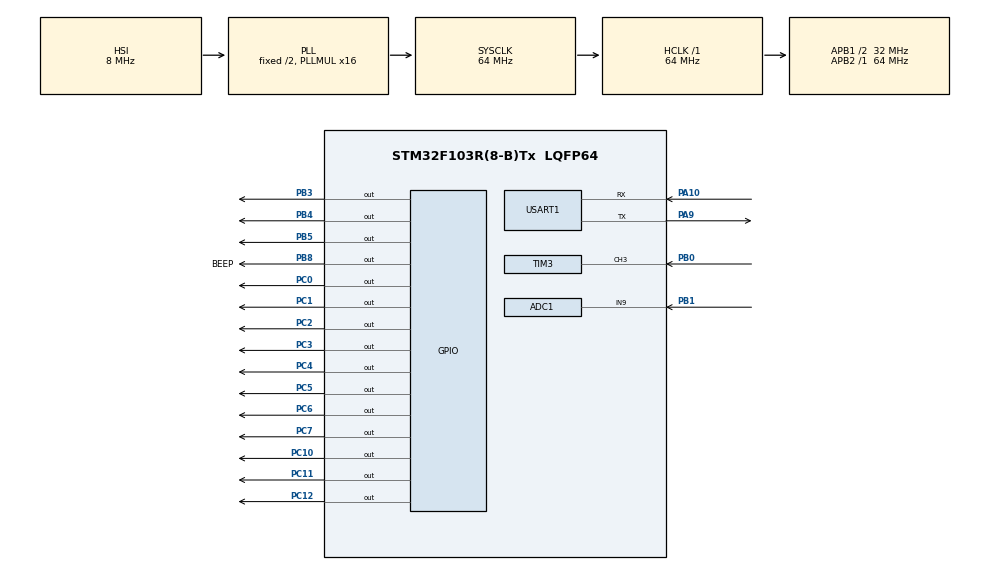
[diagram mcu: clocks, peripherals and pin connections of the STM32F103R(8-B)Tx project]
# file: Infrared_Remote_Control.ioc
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ADC1.Channel-0\#ChannelRegularConversion=ADC_CHANNEL_9
ADC1.NbrOfConversionFlag=1
ADC1.Rank-0\#ChannelRegularConversion=1
ADC1.SamplingTime-0\#ChannelRegularConversion=ADC_SAMPLETIME_1CYCLE_5
ADC1.master=1
Mcu.Family=STM32F1
Mcu.Name=STM32F103R(8-B)Tx
Mcu.Package=LQFP64
NVIC.PriorityGroup=NVIC_PRIORITYGROUP_4
NVIC.TIM2_IRQn=true\:0\:0\:false\:false\:true\:true\:true\:true
NVIC.TIM3_IRQn=true\:1\:0\:true\:false\:true\:true\:true\:true
NVIC.USART1_IRQn=true\:0\:0\:false\:false\:true\:true\:true\:true
PA10.Mode=Asynchronous
PA10.Signal=USART1_RX
PA13.Mode=Serial_Wire
PA13.Signal=SYS_JTMS-SWDIO
PA14.Mode=Serial_Wire
PA14.Signal=SYS_JTCK-SWCLK
PA9.Mode=Asynchronous
PA9.Signal=USART1_TX
PB0.Signal=S_TIM3_CH3
PB1.Signal=ADCx_IN9
PB3.Signal=GPIO_Output
PB4.Signal=GPIO_Output
PB5.Signal=GPIO_Output
PB8.GPIO_Label=BEEP
PB8.Signal=GPIO_Output
PC0.Signal=GPIO_Output
PC1.Signal=GPIO_Output
PC10.Signal=GPIO_Output
PC11.Signal=GPIO_Output
PC12.Signal=GPIO_Output
PC2.Signal=GPIO_Output
PC3.Signal=GPIO_Output
PC4.Signal=GPIO_Output
PC5.Signal=GPIO_Output
PC6.Signal=GPIO_Output
PC7.Signal=GPIO_Output
ProjectManager.HeapSize=0x200
ProjectManager.StackSize=0x400
ProjectManager.TargetToolchain=MDK-ARM V5.32
RCC.ADCPresc=RCC_ADCPCLK2_DIV6
RCC.AHBFreq_Value=64000000
RCC.APB1CLKDivider=RCC_HCLK_DIV2
RCC.APB1Freq_Value=32000000
RCC.APB1TimFreq_Value=64000000
RCC.APB2Freq_Value=64000000
RCC.APB2TimFreq_Value=64000000
RCC.HCLKFreq_Value=64000000
RCC.PLLMUL=RCC_PLL_MUL16
RCC.SYSCLKFreq_VALUE=64000000
RCC.SYSCLKSource=RCC_SYSCLKSOURCE_PLLCLK
RCC.USBFreq_Value=64000000
SH.ADCx_IN9.0=ADC1_IN9,IN9
SH.S_TIM3_CH3.0=TIM3_CH3,Input_Capture3_from_TI3
TIM2.AutoReloadPreload=TIM_AUTORELOAD_PRELOAD_ENABLE
TIM2.Period=999
TIM2.Prescaler=63
TIM2.TIM_MasterOutputTrigger=TIM_TRGO_UPDATE
TIM3.AutoReloadPreload=TIM_AUTORELOAD_PRELOAD_ENABLE
TIM3.Channel-Input_Capture3_from_TI3=TIM_CHANNEL_3
TIM3.ICFilter_CH3=0x03
TIM3.Period=10000
TIM3.Prescaler=63
USART1.VirtualMode=VM_ASYNC
VP_TIM2_VS_ClockSourceINT.Mode=Internal
board=custom

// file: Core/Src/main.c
/* USER CODE BEGIN Header */
/**
  ******************************************************************************
  * @file           : main.c
  * @brief          : Main program body
  ******************************************************************************
  * @attention
  *
  * Copyright (c) 2022 STMicroelectronics.
  * All rights reserved.
  *
  * This software is licensed under terms that can be found in the LICENSE file
  * in the root directory of this software component.
  * If no LICENSE file comes with this software, it is provided AS-IS.
  *
  ******************************************************************************
  */
/* USER CODE END Header */
#include "main.h"
#include "adc.h"
#include "tim.h"
#include "usart.h"
#include "gpio.h"

/* USER CODE BEGIN Includes */
#include "stdio.h"
#include <string.h>
#include "delay.h"
#include "24cxx.h"
/* USER CODE END Includes */

void SystemClock_Config(void);

/* USER CODE BEGIN 0 */
extern char flag;
extern	uint32_t RmtRec;	//红外接收到的数据;
extern int x;//eeprom参数
extern char ebuff[2];
extern uint8_t beep_c;
uint8_t TEXT_Buffer[2];
uint8_t datatemp[2];//读出缓存数组
/* USER CODE END 0 */

int main(void)
{

  /* MCU Configuration--------------------------------------------------------*/

  /* Reset of all peripherals, Initializes the Flash interface and the Systick. */
  HAL_Init();

  /* Configure the system clock */
  SystemClock_Config();

  /* Initialize all configured peripherals */
  MX_GPIO_Init();
  MX_TIM3_Init();
  MX_USART1_UART_Init();
  MX_ADC1_Init();
  MX_TIM2_Init();
  /* USER CODE BEGIN 2 */
	/*---------数码管引脚begain-----------*/
	HAL_GPIO_WritePin(GPIOB,GPIO_PIN_3,GPIO_PIN_RESET);
	HAL_GPIO_WritePin(GPIOB,GPIO_PIN_5,GPIO_PIN_RESET);
	HAL_GPIO_WritePin(GPIOB,GPIO_PIN_4,GPIO_PIN_SET);
	HAL_GPIO_WritePin(GPIOC,GPIO_PIN_10,GPIO_PIN_RESET);
	HAL_GPIO_WritePin(GPIOC,GPIO_PIN_11,GPIO_PIN_RESET);
	HAL_GPIO_WritePin(GPIOC,GPIO_PIN_12,GPIO_PIN_RESET);
	/*---------数码管引脚---end-----------*/
	/*---------红外管脚初始化begain-------*/
		HAL_TIM_IC_Start_IT(&htim3,TIM_CHANNEL_3);   //开始捕获TIM3的通道3
    __HAL_TIM_ENABLE_IT(&htim3,TIM_IT_UPDATE);   //使能更新中断
	/*---------红外管脚初始化--end--------*/
	/*---------定时器初始化begain---------*/
	HAL_TIM_Base_Start_IT(&htim2);
	/*---------定时器初始化---end---------*/
	/*---------IIC-EEPROM初始化----------*/
	IIC_Init();
  /* USER CODE END 2 */

  /* Infinite loop */
  /* USER CODE BEGIN WHILE */
	HAL_GPIO_WritePin(GPIOB,BEEP_Pin, GPIO_PIN_SET);//蜂鸣器不响
	HAL_GPIO_WritePin(GPIOC,GPIO_PIN_0|GPIO_PIN_1|GPIO_PIN_2|GPIO_PIN_3
                          |GPIO_PIN_4|GPIO_PIN_5|GPIO_PIN_6|GPIO_PIN_7
                          |GPIO_PIN_10|GPIO_PIN_11|GPIO_PIN_12, GPIO_PIN_SET);//led不亮
/*---------------24C02check---------------*/
	while (AT24CXX_Check()) //检测不到24c02
    {
        printf("24C02 Check Failed!\r\n");
        HAL_Delay(500);
        printf("Please Check!\r\n");
        HAL_Delay(500);
    }
  printf("24C02 Ready!\r\n");//显示提示信息
/*-------------24C02事先写入部分-------------*/

					TEXT_Buffer[0]=2;//系数a
					TEXT_Buffer[1]=3;//系数b
	AT24CXX_Write(0, (uint8_t *)TEXT_Buffer, sizeof(TEXT_Buffer));
	AT24CXX_Read(0, datatemp, sizeof(TEXT_Buffer));
//printf("The Data Readed Is:\r\n");//提示传送完成
//printf("%d %d\r\n", datatemp[0],datatemp[1]); //显示读到的字符串
  while (1)
  {
		if(beep_c){
		HAL_GPIO_WritePin(GPIOB,BEEP_Pin, GPIO_PIN_RESET);//蜂鸣器不响
			HAL_Delay(50);
		HAL_GPIO_WritePin(GPIOB,BEEP_Pin, GPIO_PIN_SET);
		beep_c=0;
		}
		if(key){
			printf("key:%d\r\n",key);
			printf("键值：%6x\r\n",RmtRec);
		}
		if(adc_on==1){
			printf("voltage: %d V\r\n",adc_on);
			adc_on=0;
		}
		if(x!=0) {printf("%d\r\n",x);x=0;}
//		printf("x:%d\r\n",x);
//		printf("buff0:%d\r\n",ebuff[0]);
//		printf("buff1:%d\r\n",ebuff[1]);

//printf("light:%d\r\n",flag);//测试打印亮度等级
    /* USER CODE END WHILE */

  }
}

void SystemClock_Config(void)
{
  RCC_OscInitTypeDef RCC_OscInitStruct = {0};
  RCC_ClkInitTypeDef RCC_ClkInitStruct = {0};
  RCC_PeriphCLKInitTypeDef PeriphClkInit = {0};

  /** Initializes the RCC Oscillators according to the specified parameters
  * in the RCC_OscInitTypeDef structure.
  */
  RCC_OscInitStruct.OscillatorType = RCC_OSCILLATORTYPE_HSI;
  RCC_OscInitStruct.HSIState = RCC_HSI_ON;
  RCC_OscInitStruct.HSICalibrationValue = RCC_HSICALIBRATION_DEFAULT;
  RCC_OscInitStruct.PLL.PLLState = RCC_PLL_ON;
  RCC_OscInitStruct.PLL.PLLSource = RCC_PLLSOURCE_HSI_DIV2;
  RCC_OscInitStruct.PLL.PLLMUL = RCC_PLL_MUL16;
  if (HAL_RCC_OscConfig(&RCC_OscInitStruct) != HAL_OK)
  {
    Error_Handler();
  }

  /** Initializes the CPU, AHB and APB buses clocks
  */
  RCC_ClkInitStruct.ClockType = RCC_CLOCKTYPE_HCLK|RCC_CLOCKTYPE_SYSCLK
                              |RCC_CLOCKTYPE_PCLK1|RCC_CLOCKTYPE_PCLK2;
  RCC_ClkInitStruct.SYSCLKSource = RCC_SYSCLKSOURCE_PLLCLK;
  RCC_ClkInitStruct.AHBCLKDivider = RCC_SYSCLK_DIV1;
  RCC_ClkInitStruct.APB1CLKDivider = RCC_HCLK_DIV2;
  RCC_ClkInitStruct.APB2CLKDivider = RCC_HCLK_DIV1;

  if (HAL_RCC_ClockConfig(&RCC_ClkInitStruct, FLASH_LATENCY_2) != HAL_OK)
  {
    Error_Handler();
  }
  PeriphClkInit.PeriphClockSelection = RCC_PERIPHCLK_ADC;
  PeriphClkInit.AdcClockSelection = RCC_ADCPCLK2_DIV6;
  if (HAL_RCCEx_PeriphCLKConfig(&PeriphClkInit) != HAL_OK)
  {
    Error_Handler();
  }
}

void Error_Handler(void)
{
  __disable_irq();
  while (1)
  {
  }
}
